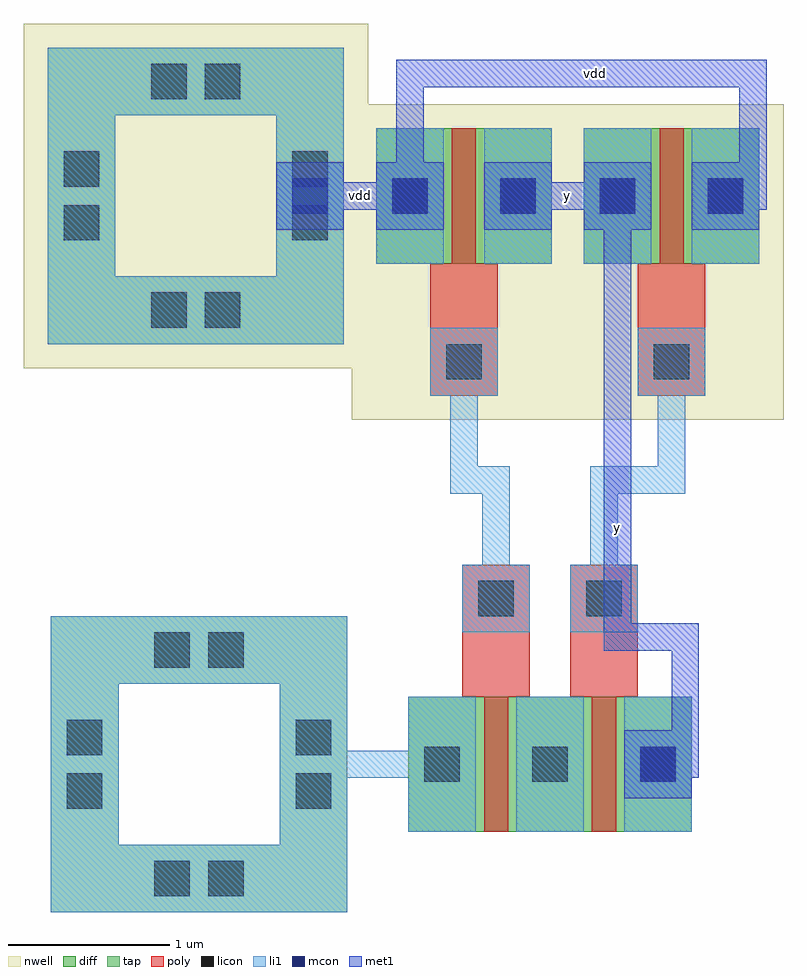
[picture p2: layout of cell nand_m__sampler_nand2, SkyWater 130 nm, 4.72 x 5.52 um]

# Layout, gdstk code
from math import pi, radians
import gdstk
lib = gdstk.Library(unit=1e-6, precision=1e-09)
def R(c, l, rs):  # rectangles x0, y0, x1, y1
    for r in rs: c.add(gdstk.rectangle(r[:2], r[2:], *l))
def A(c, l, x, y, w, h, nx, ny, dx, dy):  # array of equal rectangles
    R(c, l, [(x+i*dx, y+j*dy, x+i*dx+w, y+j*dy+h) for i in range(nx) for j in range(ny)])
def P(c, l, *ps):  # polygons
    for p in ps: c.add(gdstk.Polygon(p, *l))
nwell = (64, 20)
diff = (65, 20)
tap = (65, 44)
poly = (66, 20)
licon = (66, 44)
li1 = (67, 20)
mcon = (67, 44)
met1 = (68, 20)

guard_ring_3 = lib.new_cell('guard_ring$3')
R(guard_ring_3, nwell, [(-0.15,-0.15,1.99,1.99)])
P(guard_ring_3, tap, [(0,0),(0,1.42),(0.42,1.42),(0.42,0.42),(1.42,0.42),(1.42,1.42),(0,1.42),(0,1.84),(1.84,1.84),(1.84,0)])
R(guard_ring_3, licon, [(0.643,0.1,0.863,0.32), (0.977,0.1,1.197,0.32), (0.1,0.643,0.32,0.863), (1.52,0.643,1.74,0.863), (0.1,0.977,0.32,1.197), (1.52,0.977,1.74,1.197), (0.643,1.52,0.863,1.74), (0.977,1.52,1.197,1.74)])
P(guard_ring_3, li1, [(0,0),(0,1.42),(0.42,1.42),(0.42,0.42),(1.42,0.42),(1.42,1.42),(0,1.42),(0,1.84),(1.84,1.84),(1.84,0)])

nwell_tap__nwell_tap_2 = lib.new_cell('nwell_tap__nwell_tap$2')
nwell_tap__nwell_tap_2.add(gdstk.Reference(guard_ring_3, (0,0)))

mos_array_3 = lib.new_cell('mos_array$3')
R(mos_array_3, nwell, [(-0.15,-0.15,1.24,1.81)])
R(mos_array_3, diff, [(0,0,1.09,0.84)])
R(mos_array_3, poly, [(0.47,0,0.62,0.84), (0.335,0.84,0.755,1.66)])
R(mos_array_3, licon, [(0.1,0.31,0.32,0.53), (0.77,0.31,0.99,0.53), (0.435,1.34,0.655,1.56)])
R(mos_array_3, li1, [(0,0,0.42,0.84), (0.67,0,1.09,0.84), (0.335,1.24,0.755,1.66)])

mpa__mpa = lib.new_cell('mpa__mpa')
mpa__mpa.add(gdstk.Reference(mos_array_3, (0,0)))

mos_array_1_2 = lib.new_cell('mos_array$1$2')
R(mos_array_1_2, nwell, [(-0.15,-0.15,1.24,1.81)])
R(mos_array_1_2, diff, [(0,0,1.09,0.84)])
R(mos_array_1_2, poly, [(0.47,0,0.62,0.84), (0.335,0.84,0.755,1.66)])
R(mos_array_1_2, licon, [(0.1,0.31,0.32,0.53), (0.77,0.31,0.99,0.53), (0.435,1.34,0.655,1.56)])
R(mos_array_1_2, li1, [(0,0,0.42,0.84), (0.67,0,1.09,0.84), (0.335,1.24,0.755,1.66)])

mpb__mpb = lib.new_cell('mpb__mpb')
mpb__mpb.add(gdstk.Reference(mos_array_1_2, (0,0)))

guard_ring_1_2 = lib.new_cell('guard_ring$1$2')
P(guard_ring_1_2, tap, [(0,0),(0,1.42),(0.42,1.42),(0.42,0.42),(1.42,0.42),(1.42,1.42),(0,1.42),(0,1.84),(1.84,1.84),(1.84,0)])
R(guard_ring_1_2, licon, [(0.643,0.1,0.863,0.32), (0.977,0.1,1.197,0.32), (0.1,0.643,0.32,0.863), (1.52,0.643,1.74,0.863), (0.1,0.977,0.32,1.197), (1.52,0.977,1.74,1.197), (0.643,1.52,0.863,1.74), (0.977,1.52,1.197,1.74)])
P(guard_ring_1_2, li1, [(0,0),(0,1.42),(0.42,1.42),(0.42,0.42),(1.42,0.42),(1.42,1.42),(0,1.42),(0,1.84),(1.84,1.84),(1.84,0)])

psub_tap__psub_tap_2 = lib.new_cell('psub_tap__psub_tap$2')
psub_tap__psub_tap_2.add(gdstk.Reference(guard_ring_1_2, (0,0)))

mos_array_2_1 = lib.new_cell('mos_array$2$1')
R(mos_array_2_1, diff, [(0,0,1.76,0.84)])
R(mos_array_2_1, poly, [(0.47,0,0.62,0.84), (1.14,0,1.29,0.84), (0.335,0.84,0.755,1.66), (1.005,0.84,1.425,1.66)])
A(mos_array_2_1, licon, 0.1, 0.31, 0.22, 0.22, 3, 1, 0.67, 0)
R(mos_array_2_1, licon, [(0.435,1.34,0.655,1.56), (1.105,1.34,1.325,1.56)])
A(mos_array_2_1, li1, 0, 0, 0.42, 0.84, 3, 1, 0.67, 0)
R(mos_array_2_1, li1, [(0.335,1.24,0.755,1.66), (1.005,1.24,1.425,1.66)])

mnab__mnab = lib.new_cell('mnab__mnab')
mnab__mnab.add(gdstk.Reference(mos_array_2_1, (0,0)))

core__core = lib.new_cell('core__core')
R(core__core, li1, [(3.575,1.24,3.995,1.41), (4.245,1.24,4.665,1.41), (3.375,2.54,3.795,2.71), (4.665,2.54,5.085,2.71)])
core__core.add(gdstk.FlexPath([(3.585,2.71),(3.585,1.975),(3.785,1.975),(3.785,1.24)], 0.17, ends="flush", simple_path=True, layer=67, datatype=20))  # li1
core__core.add(gdstk.FlexPath([(4.875,2.71),(4.875,1.975),(4.455,1.975),(4.455,1.24)], 0.17, ends="flush", simple_path=True, layer=67, datatype=20))  # li1
core__core.add(gdstk.FlexPath([(2.65,0.21),(3.45,0.21)], 0.17, ends="flush", simple_path=True, layer=67, datatype=20))  # li1
core__core.add(gdstk.Reference(nwell_tap__nwell_tap_2, (1,2.82)))
core__core.add(gdstk.Reference(mpa__mpa, (3.04,4.16), x_reflection=True))
core__core.add(gdstk.Reference(mpb__mpb, (5.42,4.16), rotation=pi))
core__core.add(gdstk.Reference(psub_tap__psub_tap_2, (1.02,-0.71)))
core__core.add(gdstk.Reference(mnab__mnab, (3.24,-0.21)))
core__core.add(gdstk.Label('en', (3.685,1.975), layer=67, texttype=5))
core__core.add(gdstk.Label('a', (4.665,1.975), layer=67, texttype=5))
core__core.add(gdstk.Label('vss', (3.05,0.21), layer=67, texttype=5))
core__core.add(gdstk.Label('nwell_vdd', (2.63,3.74), layer=67, texttype=5))
core__core.add(gdstk.Label('mpa_py', (3.25,3.74), layer=67, texttype=5))
core__core.add(gdstk.Label('mpb_py', (5.21,3.74), layer=67, texttype=5))
core__core.add(gdstk.Label('mpa_y', (3.92,3.74), layer=67, texttype=5))
core__core.add(gdstk.Label('mpb_y', (4.54,3.74), layer=67, texttype=5))
core__core.add(gdstk.Label('mnab_y', (4.79,0.21), layer=67, texttype=5))

nand_m__sampler_nand2 = lib.new_cell('nand_m__sampler_nand2')
R(nand_m__sampler_nand2, li1, [(4.58,0,5,0.42), (2.42,3.53,2.84,3.95), (3.04,3.53,3.46,3.95), (3.04,3.53,3.46,3.95), (3.71,3.53,4.13,3.95), (4.33,3.53,4.75,3.95), (4.33,3.53,4.75,3.95), (5,3.53,5.42,3.95)])
R(nand_m__sampler_nand2, mcon, [(4.68,0.1,4.9,0.32), (2.52,3.63,2.74,3.85), (3.14,3.63,3.36,3.85), (3.14,3.63,3.36,3.85), (3.81,3.63,4.03,3.85), (4.43,3.63,4.65,3.85), (4.43,3.63,4.65,3.85), (5.1,3.63,5.32,3.85)])
R(nand_m__sampler_nand2, met1, [(4.58,0,5,0.42), (2.42,3.53,2.84,3.95), (3.04,3.53,3.46,3.95), (3.04,3.53,3.46,3.95), (3.71,3.53,4.13,3.95), (4.33,3.53,4.75,3.95), (4.33,3.53,4.75,3.95), (5,3.53,5.42,3.95)])
nand_m__sampler_nand2.add(gdstk.FlexPath([(2.63,3.74),(3.25,3.74)], 0.17, ends="flush", simple_path=True, layer=68, datatype=20))  # met1
nand_m__sampler_nand2.add(gdstk.FlexPath([(3.25,3.74),(3.25,4.5),(5.38,4.5),(5.38,3.74),(5.21,3.74)], 0.17, ends="flush", simple_path=True, layer=68, datatype=20))  # met1
nand_m__sampler_nand2.add(gdstk.FlexPath([(3.92,3.74),(4.54,3.74)], 0.17, ends="flush", simple_path=True, layer=68, datatype=20))  # met1
nand_m__sampler_nand2.add(gdstk.FlexPath([(4.54,3.74),(4.54,1),(4.96,1),(4.96,0.21),(4.79,0.21)], 0.17, ends="flush", simple_path=True, layer=68, datatype=20))  # met1
nand_m__sampler_nand2.add(gdstk.Reference(core__core, (0,0)))
nand_m__sampler_nand2.add(gdstk.Label('vdd', (2.94,3.74), layer=68, texttype=5))
nand_m__sampler_nand2.add(gdstk.Label('vdd', (4.4,4.5), layer=68, texttype=5))
nand_m__sampler_nand2.add(gdstk.Label('y', (4.23,3.74), layer=68, texttype=5))
nand_m__sampler_nand2.add(gdstk.Label('y', (4.54,1.68), layer=68, texttype=5))

lib.write_gds('nand_m__sampler_nand2.gds')
